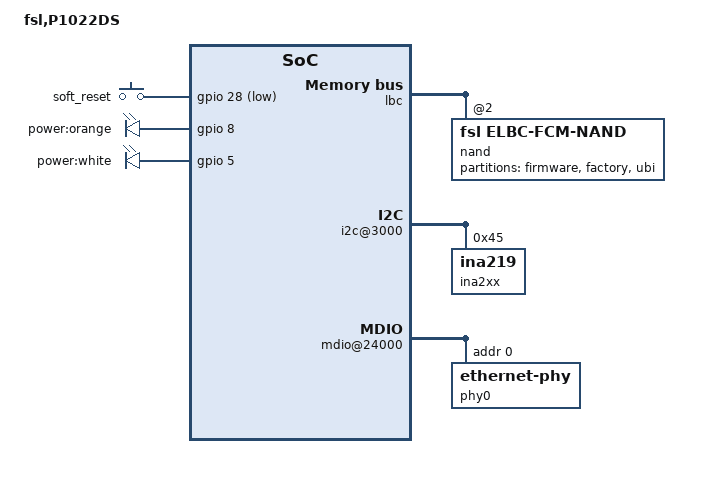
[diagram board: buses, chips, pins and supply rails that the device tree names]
/include/ "fsl/p1022si-pre.dtsi"

// Mostly copied from p1022ds_32b.dts
/ {
    model = "fsl,P1022DS";
    compatible = "fsl,P1022DS";

    memory {
        device_type = "memory";
    };

    reserved-memory {
        #address-cells = <1>;
        #size-cells = <1>;
        ranges;

        pstore: pstore@0xff00000 {
            reg = <0xff00000 0x100000>;
        };
    };

    lbc: localbus@ffe05000 {
        ranges = <0x0 0x0 0x0 0xe8000000 0x08000000
                  0x1 0x0 0x0 0xe0000000 0x08000000
                  0x2 0x0 0x0 0xff800000 0x00040000
                  0x3 0x0 0x0 0xffdf0000 0x00008000>;
        reg = <0x0 0xffe05000 0 0x1000>;
    };

    soc: soc@ffe00000 {
        ranges = <0x0 0x0 0xffe00000 0x100000>;
    };

    pci0: pcie@ffe09000 {
        ranges = <0x2000000 0x0 0xe0000000 0 0xa0000000 0x0 0x20000000
                  0x1000000 0x0 0x00000000 0 0xffc10000 0x0 0x10000>;
        reg = <0x0 0xffe09000 0 0x1000>;
        pcie@0 {
            ranges = <0x2000000 0x0 0xe0000000
                      0x2000000 0x0 0xe0000000
                      0x0 0x20000000

                      0x1000000 0x0 0x0
                      0x1000000 0x0 0x0
                      0x0 0x100000>;
        };
    };

    pci1: pcie@ffe0a000 {
        ranges = <0x2000000 0x0 0xe0000000 0 0xc0000000 0x0 0x20000000
                  0x1000000 0x0 0x00000000 0 0xffc20000 0x0 0x10000>;
        reg = <0 0xffe0a000 0 0x1000>;
        pcie@0 {
            ranges = <0x2000000 0x0 0xe0000000
                      0x2000000 0x0 0xe0000000
                      0x0 0x20000000

                      0x1000000 0x0 0x0
                      0x1000000 0x0 0x0
                      0x0 0x100000>;
        };
    };

    pci2: pcie@ffe0b000 {
        ranges = <0x2000000 0x0 0xe0000000 0 0x80000000 0x0 0x20000000
                  0x1000000 0x0 0x00000000 0 0xffc00000 0x0 0x10000>;
        reg = <0 0xffe0b000 0 0x1000>;
        pcie@0 {
            ranges = <0x2000000 0x0 0xe0000000
                      0x2000000 0x0 0xe0000000
                      0x0 0x20000000

                      0x1000000 0x0 0x0
                      0x1000000 0x0 0x0
                      0x0 0x100000>;
        };
    };
};

&lbc {
    nand@2,0 {
        #address-cells = <1>;
        #size-cells = <1>;
        compatible = "fsl,elbc-fcm-nand";
        reg = <0x2 0x0 0x40000>;

        partition@0 {
            label = "firmware";
            reg   = <0x00000000 0x00100000>;
        };
        partition@180000 {
            label = "factory";
            reg   = <0x00100000 0x00100000>;
        };
        partition@200000 {
            label = "ubi";
            reg   = <0x00200000 0x07e00000>;
        };
        all {
            label = "all";
            reg   = <0x00000000 0x08000000>;
        };
    };
};

&soc {
    i2c@3000 {
        ina2xx@45 {
            compatible = "ina219";
            config = <0x219F>;
            calibration = <0x99BA>;
            power_lsb = <2082>;
            reg = <0x45>;
        };
    };

    i2c@3100 {
        status = "disabled";
    };

    serial@4600 {
        status = "disabled";
    };

    spi@7000 {
        status = "disabled";
    };

    mdio@24000 {
        phy0: ethernet-phy@0 {
            interrupts = <3 1 0 0>;
            reg = <0x0>;
        };
    };

    mdio@25000 {
        status = "disabled";
    };

    ethernet@b0000 {
        phy-handle = <&phy0>;
        phy-connection-type = "rgmii-id";
    };

    ethernet@b1000 {
        status = "disabled";
    };
};

// LED devices
/ {
    gpio-devices {
        // simple-bus tells mpc85xx_common_publish_devices() to probe
        // for platform devices on this node
        compatible = "simple-bus";

        gpio-leds {
            compatible = "gpio-leds";
            power-orange {
                label = "power:orange";
                gpios = <&gpio 8 0>;
                default-state = "on";
            };
            power-white {
                label = "power:white";
                gpios = <&gpio 5 0>;
            };
        };

        tricolor-led {
            compatible = "numen,leds-nu801";
            controller1 {
                label = "tricolor";
                cki = <&gpio 19 0>;
                sdi = <&gpio 17 0>;
                lei = <&gpio 20 0>;
                ndelay  = <50>;
                num_leds = <1>;
                led_color0 {
                    label = "blue";
                    state = "off";
                };
                led_color1 {
                    label = "green";
                    state = "off";
                };
                led_color2 {
                    label = "red";
                    state = "off";
                };
            };
        };
    };
};

/include/ "fsl/p1022si-post.dtsi"

&soc {
    // Correct GPIO controller address
    gpio: gpio-controller@fc00 {
        reg = <0xf000 0x100>;
    };

    gpio_keys_polled {
        compatible = "gpio-keys-polled";
        #address-cells = <1>;
        #size-cells = <0>;
        poll-interval = <60>;       /* 3 * 20 = 60ms */
        autorepeat;
        button@1 {
           label = "soft_reset";
           linux,code = <0x198>;     /* EV_RESTART    */
           linux,input-type = <1>;   /* EV_KEY        */
           gpios = <&gpio 28 1>;
        };
    };

    ramoops {
        compatible = "ramoops";
        memory-region = <&pstore>;
        record-size = <0x80000>;
        console-size = <0>;
        ftrace-size = <0>;
        pmsg-size = <0>;
        ecc-size = <0>;
    };
};
